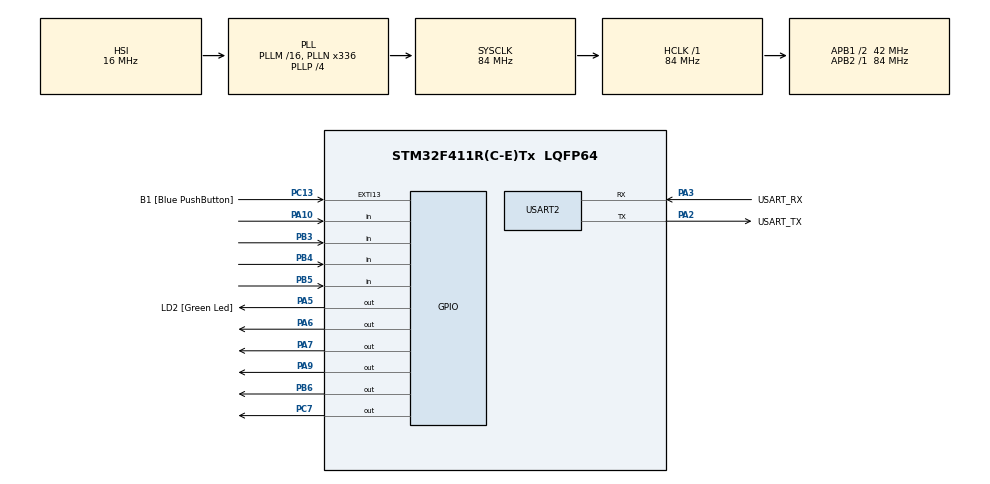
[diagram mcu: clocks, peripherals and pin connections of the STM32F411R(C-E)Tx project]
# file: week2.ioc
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Mcu.Family=STM32F4
Mcu.Name=STM32F411R(C-E)Tx
Mcu.Package=LQFP64
NVIC.PriorityGroup=NVIC_PRIORITYGROUP_0
PA10.GPIO_PuPd=GPIO_PULLUP
PA10.Signal=GPIO_Input
PA13.GPIO_Label=TMS
PA13.Mode=Serial_Wire
PA13.Signal=SYS_JTMS-SWDIO
PA14.GPIO_Label=TCK
PA14.Mode=Serial_Wire
PA14.Signal=SYS_JTCK-SWCLK
PA2.GPIO_Label=USART_TX
PA2.Mode=Asynchronous
PA2.Signal=USART2_TX
PA3.GPIO_Label=USART_RX
PA3.Mode=Asynchronous
PA3.Signal=USART2_RX
PA5.GPIO_Label=LD2 [Green Led]
PA5.Signal=GPIO_Output
PA6.Signal=GPIO_Output
PA7.GPIO_ModeDefaultOutputPP=GPIO_MODE_OUTPUT_OD
PA7.PinState=GPIO_PIN_SET
PA7.Signal=GPIO_Output
PA9.GPIO_ModeDefaultOutputPP=GPIO_MODE_OUTPUT_OD
PA9.PinState=GPIO_PIN_SET
PA9.Signal=GPIO_Output
PB3.GPIO_PuPd=GPIO_PULLUP
PB3.Signal=GPIO_Input
PB4.GPIO_PuPd=GPIO_PULLUP
PB4.Signal=GPIO_Input
PB5.GPIO_PuPd=GPIO_PULLUP
PB5.Signal=GPIO_Input
PB6.GPIO_ModeDefaultOutputPP=GPIO_MODE_OUTPUT_OD
PB6.PinState=GPIO_PIN_SET
PB6.Signal=GPIO_Output
PC13-ANTI_TAMP.GPIO_Label=B1 [Blue PushButton]
PC13-ANTI_TAMP.GPIO_ModeDefaultEXTI=GPIO_MODE_IT_FALLING
PC13-ANTI_TAMP.Signal=GPXTI13
PC14-OSC32_IN.Mode=LSE-External-Oscillator
PC14-OSC32_IN.Signal=RCC_OSC32_IN
PC15-OSC32_OUT.Mode=LSE-External-Oscillator
PC15-OSC32_OUT.Signal=RCC_OSC32_OUT
PC7.GPIO_ModeDefaultOutputPP=GPIO_MODE_OUTPUT_OD
PC7.PinState=GPIO_PIN_SET
PC7.Signal=GPIO_Output
PH0\ -\ OSC_IN.Mode=HSE-External-Clock-Source
PH0\ -\ OSC_IN.Signal=RCC_OSC_IN
PH1\ -\ OSC_OUT.Mode=HSE-External-Clock-Source
PH1\ -\ OSC_OUT.Signal=RCC_OSC_OUT
ProjectManager.HeapSize=0x200
ProjectManager.StackSize=0x400
ProjectManager.TargetToolchain=STM32CubeIDE
RCC.48MHZClocksFreq_Value=84000000
RCC.AHBFreq_Value=84000000
RCC.APB1CLKDivider=RCC_HCLK_DIV2
RCC.APB1Freq_Value=42000000
RCC.APB1TimFreq_Value=84000000
RCC.APB2Freq_Value=84000000
RCC.APB2TimFreq_Value=84000000
RCC.CortexFreq_Value=84000000
RCC.FLatency-AdvancedSettings=FLASH_LATENCY_2
RCC.HCLKFreq_Value=84000000
RCC.HSE_VALUE=8000000
RCC.HSI_VALUE=16000000
RCC.PLLN=336
RCC.PLLP=RCC_PLLP_DIV4
RCC.SYSCLKFreq_VALUE=84000000
RCC.SYSCLKSource=RCC_SYSCLKSOURCE_PLLCLK
RCC.VCOOutputFreq_Value=336000000
USART2.VirtualMode=VM_ASYNC
board=NUCLEO-F411RE

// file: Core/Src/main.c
/* USER CODE BEGIN Header */
/**
 ******************************************************************************
 * @file           : main.c
 * @brief          : Main program body
 ******************************************************************************
 * @attention
 *
 * <h2><center>&copy; Copyright (c) 2021 STMicroelectronics.
 * All rights reserved.</center></h2>
 *
 * This software component is licensed by ST under BSD 3-Clause license,
 * the "License"; You may not use this file except in compliance with the
 * License. You may obtain a copy of the License at:
 *                        opensource.org/licenses/BSD-3-Clause
 *
 ******************************************************************************
 */
/* USER CODE END Header */
#include "main.h"

UART_HandleTypeDef huart2;

/* USER CODE BEGIN PV */

uint16_t ButtonMatrixState = 0;
uint32_t ButtonMatrixTimeStamp = 0;
int Count = 0;
int CountTwo = 0;
int CountZero = 0;
int A = 0;
uint32_t ButtonTimeStamp = 0;

/* USER CODE END PV */

void SystemClock_Config(void);
static void MX_GPIO_Init(void);
static void MX_USART2_UART_Init(void);
/* USER CODE BEGIN PFP */

void ButtonMatrixUpdate(); //Scan and Update data of Button Matrix

/* USER CODE END PFP */

int main(void)
{

  /* MCU Configuration--------------------------------------------------------*/

  /* Reset of all peripherals, Initializes the Flash interface and the Systick. */
  HAL_Init();

  /* Configure the system clock */
  SystemClock_Config();

  /* Initialize all configured peripherals */
  MX_GPIO_Init();
  MX_USART2_UART_Init();
  /* USER CODE BEGIN 2 */
	//--------------------------------------------------------------------------------
	//--------------------------------------------------------------------------------
  /* USER CODE END 2 */

  /* Infinite loop */
  /* USER CODE BEGIN WHILE */

	//--------------------------------------------------------------------------------
	while (1) {
		ButtonMatrixUpdate();

		//--------------------------------------------------------------------------------
    /* USER CODE END WHILE */

	}
}

void SystemClock_Config(void)
{
  RCC_OscInitTypeDef RCC_OscInitStruct = {0};
  RCC_ClkInitTypeDef RCC_ClkInitStruct = {0};

  /** Configure the main internal regulator output voltage
  */
  __HAL_RCC_PWR_CLK_ENABLE();
  __HAL_PWR_VOLTAGESCALING_CONFIG(PWR_REGULATOR_VOLTAGE_SCALE1);
  /** Initializes the RCC Oscillators according to the specified parameters
  * in the RCC_OscInitTypeDef structure.
  */
  RCC_OscInitStruct.OscillatorType = RCC_OSCILLATORTYPE_HSI;
  RCC_OscInitStruct.HSIState = RCC_HSI_ON;
  RCC_OscInitStruct.HSICalibrationValue = RCC_HSICALIBRATION_DEFAULT;
  RCC_OscInitStruct.PLL.PLLState = RCC_PLL_ON;
  RCC_OscInitStruct.PLL.PLLSource = RCC_PLLSOURCE_HSI;
  RCC_OscInitStruct.PLL.PLLM = 16;
  RCC_OscInitStruct.PLL.PLLN = 336;
  RCC_OscInitStruct.PLL.PLLP = RCC_PLLP_DIV4;
  RCC_OscInitStruct.PLL.PLLQ = 4;
  if (HAL_RCC_OscConfig(&RCC_OscInitStruct) != HAL_OK)
  {
    Error_Handler();
  }
  /** Initializes the CPU, AHB and APB buses clocks
  */
  RCC_ClkInitStruct.ClockType = RCC_CLOCKTYPE_HCLK|RCC_CLOCKTYPE_SYSCLK
                              |RCC_CLOCKTYPE_PCLK1|RCC_CLOCKTYPE_PCLK2;
  RCC_ClkInitStruct.SYSCLKSource = RCC_SYSCLKSOURCE_PLLCLK;
  RCC_ClkInitStruct.AHBCLKDivider = RCC_SYSCLK_DIV1;
  RCC_ClkInitStruct.APB1CLKDivider = RCC_HCLK_DIV2;
  RCC_ClkInitStruct.APB2CLKDivider = RCC_HCLK_DIV1;

  if (HAL_RCC_ClockConfig(&RCC_ClkInitStruct, FLASH_LATENCY_2) != HAL_OK)
  {
    Error_Handler();
  }
}

static void MX_USART2_UART_Init(void)
{

  huart2.Instance = USART2;
  huart2.Init.BaudRate = 115200;
  huart2.Init.WordLength = UART_WORDLENGTH_8B;
  huart2.Init.StopBits = UART_STOPBITS_1;
  huart2.Init.Parity = UART_PARITY_NONE;
  huart2.Init.Mode = UART_MODE_TX_RX;
  huart2.Init.HwFlowCtl = UART_HWCONTROL_NONE;
  huart2.Init.OverSampling = UART_OVERSAMPLING_16;
  if (HAL_UART_Init(&huart2) != HAL_OK)
  {
    Error_Handler();
  }

}

static void MX_GPIO_Init(void)
{
  GPIO_InitTypeDef GPIO_InitStruct = {0};

  /* GPIO Ports Clock Enable */
  __HAL_RCC_GPIOC_CLK_ENABLE();
  __HAL_RCC_GPIOH_CLK_ENABLE();
  __HAL_RCC_GPIOA_CLK_ENABLE();
  __HAL_RCC_GPIOB_CLK_ENABLE();

  /*Configure GPIO pin Output Level */
  HAL_GPIO_WritePin(LD2_GPIO_Port, LD2_Pin, GPIO_PIN_RESET);

  /*Configure GPIO pin Output Level */
  HAL_GPIO_WritePin(GPIOA, GPIO_PIN_7|GPIO_PIN_9, GPIO_PIN_SET);

  /*Configure GPIO pin Output Level */
  HAL_GPIO_WritePin(GPIOC, GPIO_PIN_7, GPIO_PIN_SET);

  /*Configure GPIO pin Output Level */
  HAL_GPIO_WritePin(GPIOB, GPIO_PIN_6, GPIO_PIN_SET);

  /*Configure GPIO pin : B1_Pin */
  GPIO_InitStruct.Pin = B1_Pin;
  GPIO_InitStruct.Mode = GPIO_MODE_IT_FALLING;
  GPIO_InitStruct.Pull = GPIO_NOPULL;
  HAL_GPIO_Init(B1_GPIO_Port, &GPIO_InitStruct);

  /*Configure GPIO pin : LD2_Pin */
  GPIO_InitStruct.Pin = LD2_Pin;
  GPIO_InitStruct.Mode = GPIO_MODE_OUTPUT_PP;
  GPIO_InitStruct.Pull = GPIO_NOPULL;
  GPIO_InitStruct.Speed = GPIO_SPEED_FREQ_LOW;
  HAL_GPIO_Init(LD2_GPIO_Port, &GPIO_InitStruct);

  /*Configure GPIO pins : PA7 PA9 */
  GPIO_InitStruct.Pin = GPIO_PIN_7|GPIO_PIN_9;
  GPIO_InitStruct.Mode = GPIO_MODE_OUTPUT_OD;
  GPIO_InitStruct.Pull = GPIO_NOPULL;
  GPIO_InitStruct.Speed = GPIO_SPEED_FREQ_LOW;
  HAL_GPIO_Init(GPIOA, &GPIO_InitStruct);

  /*Configure GPIO pin : PC7 */
  GPIO_InitStruct.Pin = GPIO_PIN_7;
  GPIO_InitStruct.Mode = GPIO_MODE_OUTPUT_OD;
  GPIO_InitStruct.Pull = GPIO_NOPULL;
  GPIO_InitStruct.Speed = GPIO_SPEED_FREQ_LOW;
  HAL_GPIO_Init(GPIOC, &GPIO_InitStruct);

  /*Configure GPIO pin : PA10 */
  GPIO_InitStruct.Pin = GPIO_PIN_10;
  GPIO_InitStruct.Mode = GPIO_MODE_INPUT;
  GPIO_InitStruct.Pull = GPIO_PULLUP;
  HAL_GPIO_Init(GPIOA, &GPIO_InitStruct);

  /*Configure GPIO pins : PB3 PB4 PB5 */
  GPIO_InitStruct.Pin = GPIO_PIN_3|GPIO_PIN_4|GPIO_PIN_5;
  GPIO_InitStruct.Mode = GPIO_MODE_INPUT;
  GPIO_InitStruct.Pull = GPIO_PULLUP;
  HAL_GPIO_Init(GPIOB, &GPIO_InitStruct);

  /*Configure GPIO pin : PB6 */
  GPIO_InitStruct.Pin = GPIO_PIN_6;
  GPIO_InitStruct.Mode = GPIO_MODE_OUTPUT_OD;
  GPIO_InitStruct.Pull = GPIO_NOPULL;
  GPIO_InitStruct.Speed = GPIO_SPEED_FREQ_LOW;
  HAL_GPIO_Init(GPIOB, &GPIO_InitStruct);

}

/* USER CODE BEGIN 4 */
//Function Implementation
GPIO_TypeDef *ButtonMatrixPort[8] = { GPIOA, GPIOB, GPIOB, GPIOB, GPIOA, GPIOC,
GPIOB, GPIOA };
uint16_t ButtonMatrixPin[8] = { GPIO_PIN_10, GPIO_PIN_3, GPIO_PIN_5, GPIO_PIN_4,
GPIO_PIN_9, GPIO_PIN_7, GPIO_PIN_6, GPIO_PIN_7 };
uint8_t ButtonMatrixLine = 0;

void ButtonMatrixUpdate() {
	if (HAL_GetTick() - ButtonMatrixTimeStamp >= 200) {
		ButtonMatrixTimeStamp = HAL_GetTick();
		for (int i = 0; i < 4; i++) {
			GPIO_PinState PinState = HAL_GPIO_ReadPin(ButtonMatrixPort[i],
					ButtonMatrixPin[i]);
			if (PinState == GPIO_PIN_RESET) // Button is Pressed
					{
				ButtonMatrixState |= (uint16_t) 1 << (i + ButtonMatrixLine * 4);

			} else {
				ButtonMatrixState &= ~((uint16_t) 1
						<< (i + ButtonMatrixLine * 4));

			}
		}
		uint8_t NowOutputPin = ButtonMatrixLine + 4;
		HAL_GPIO_WritePin(ButtonMatrixPort[NowOutputPin],
				ButtonMatrixPin[NowOutputPin], GPIO_PIN_SET);
		ButtonMatrixLine = (ButtonMatrixLine + 1) % 4;

		uint8_t NextOutputPin = ButtonMatrixLine + 4;
		HAL_GPIO_WritePin(ButtonMatrixPort[NextOutputPin],
				ButtonMatrixPin[NextOutputPin], GPIO_PIN_RESET);
		if (HAL_GetTick() - ButtonTimeStamp >= 100) //ms
				{

			ButtonTimeStamp = HAL_GetTick();
			if (CountTwo <= 4) {
				if (ButtonMatrixState == 4096) {
					CountZero = CountZero + 1;
				}
				if (ButtonMatrixState == 64 && Count == 0) //6
						{
					Count = 1;
					CountTwo = 0;
				} else if (ButtonMatrixState == 512 && Count == 1) //2
						{
					Count = 2;
					CountTwo = 0;
				} else if (ButtonMatrixState == 1024 && Count == 2) //3
						{
					Count = 3;
					CountTwo = 0;
				} else if (ButtonMatrixState == 16 && Count == 3) //4
						{
					Count = 4;
					CountTwo = 0;
				} else if (ButtonMatrixState == 4096 && Count == 4
						&& CountZero <= 4) //0
								{
					Count = 5;
					CountTwo = 0;
				} else if (ButtonMatrixState == 32 && Count == 5) //5
						{
					Count = 6;
					CountTwo = 0;
				} else if (ButtonMatrixState == 4096 && Count == 6
						&& CountZero >= 5 && CountZero <= 8) //0
								{
					Count = 7;
					CountTwo = 0;
				} else if (ButtonMatrixState == 4096 && Count == 7
						&& CountZero >= 9 && CountZero <= 12) //0
								{
					Count = 8;
					CountTwo = 0;
				} else if (ButtonMatrixState == 4096 && Count == 8
						&& CountZero >= 13 && CountZero <= 16) //0
								{
					Count = 9;
					CountTwo = 0;
				} else if (ButtonMatrixState == 32 && Count == 9) //5
						{
					Count = 10;
					CountTwo = 0;
				} else if (ButtonMatrixState == 4096 && Count == 10
						&& CountZero >= 17 && CountZero <= 20) //0
								{
					Count = 11;
					CountTwo = 0;
				} else if (ButtonMatrixState == 32768 && Count == 11) //ok
						{
					Count = 0;
					CountZero = 0;
					HAL_GPIO_WritePin(GPIOA, GPIO_PIN_5, GPIO_PIN_SET);
					CountTwo = 0;
				} else if (ButtonMatrixState == 0) {
						A = 1;
				} else {
					CountTwo = CountTwo + 1;
				}
			}
			else if(ButtonMatrixState == 8)//Clear
			{
				CountTwo = 0;
				Count = 0;
				CountZero = 0;
				HAL_GPIO_WritePin(GPIOA, GPIO_PIN_5, GPIO_PIN_RESET);

			}

		}
	}
}

/* USER CODE END 4 */

void Error_Handler(void)
{
	__disable_irq();
	while (1) {
	}
}

/************************ (C) COPYRIGHT STMicroelectronics *****END OF FILE****/
